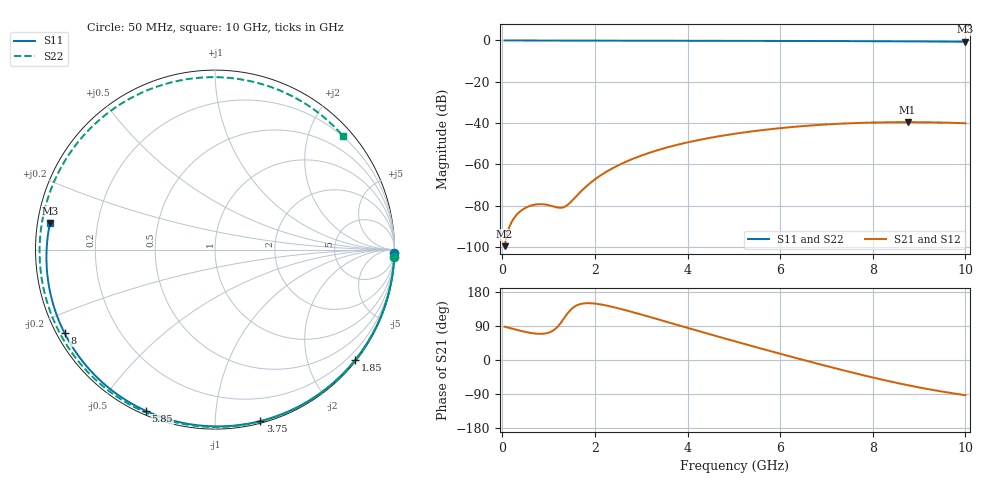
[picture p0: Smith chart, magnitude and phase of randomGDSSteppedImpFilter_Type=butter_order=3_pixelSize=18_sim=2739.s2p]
! freq	dB(S11)	phase(S11)	dB(S12)	phase(S12)
!  dB(S21)	phase(S21)	dB(S22)	phase(S22)
!S-par simulation data
#  GHz  S  DB  R 50
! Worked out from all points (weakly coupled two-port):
!   200 points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, 50 MHz to 10 GHz, reference 50 ohm
!   highest |S21| = -39.51 dB at 8.75 GHz (marker M1); lowest = -99.5 dB at 50 MHz (marker M2)
!   lowest |S11| = -0.6 dB at 10 GHz (marker M3), VSWR 28.09, Z = 1.79 + j4 ohm
!   |S11| at or under -10 dB: nowhere
!   |S22| runs from -0.4 to 0.0 dB; largest |S21 - S12| = 0
!   S11 on the Smith chart (normalised r, x): 50 MHz: open; 1.85 GHz: 0.03, -2.88; 3.75 GHz: 0.02, -1.30; 5.85 GHz: 0.02, -0.66; 8 GHz: 0.02, -0.26; 10 GHz: 0.04, +0.08
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0.05  -0.00 -1.1  -99.52 87.9  -99.52 87.9  -0.00 -2.5
0.35  -0.01 -7.3  -83.42 78.4  -83.42 78.4  -0.02 -17.0
0.65  -0.02 -13.6  -79.70 70.8  -79.70 70.8  -0.04 -31.3
1  -0.03 -20.9  -79.68 72.1  -79.68 72.1  -0.06 -47.4
1.35  -0.04 -28.1  -80.44 113.1  -80.44 113.1  -0.08 -62.9
1.45  -0.04 -30.1  -78.78 129.0  -78.78 129.0  -0.08 -67.1
1.75  -0.05 -36.2  -71.92 149.2  -71.92 149.2  -0.09 -79.5
1.85  -0.05 -38.2  -69.89 150.0  -69.89 150.0  -0.10 -83.5
2.15  -0.06 -44.3  -64.88 146.1  -64.88 146.1  -0.11 -95.1
2.5  -0.07 -51.2  -60.45 136.6  -60.45 136.6  -0.12 -107.8
3.4  -0.09 -68.6  -52.78 106.0  -52.78 106.0  -0.14 -137.4
3.75  -0.10 -75.2  -50.64 93.6  -50.64 93.6  -0.15 -148.0
4.4  -0.13 -87.3  -47.47 70.8  -47.47 70.8  -0.18 -166.5
5.05  -0.15 -99.0  -45.03 48.4  -45.03 48.4  -0.20 175.9
5.85  -0.20 -113.2  -42.77 21.5  -42.77 21.5  -0.24 154.9
6.7  -0.25 -128.1  -41.08 -6.3  -41.08 -6.3  -0.28 132.6
7.35  -0.31 -139.4  -40.22 -26.8  -40.22 -26.8  -0.31 115.4
8  -0.37 -151.0  -39.71 -46.2  -39.71 -46.2  -0.34 97.8
8.35  -0.41 -157.3  -39.57 -56.0  -39.57 -56.0  -0.35 88.2
8.75  -0.45 -164.7  -39.51 -66.4  -39.51 -66.4  -0.36 77.0
9.35  -0.53 -176.1  -39.64 -80.2  -39.64 -80.2  -0.39 60.1
10  -0.62 170.8  -40.05 -92.9  -40.05 -92.9  -0.41 41.7
